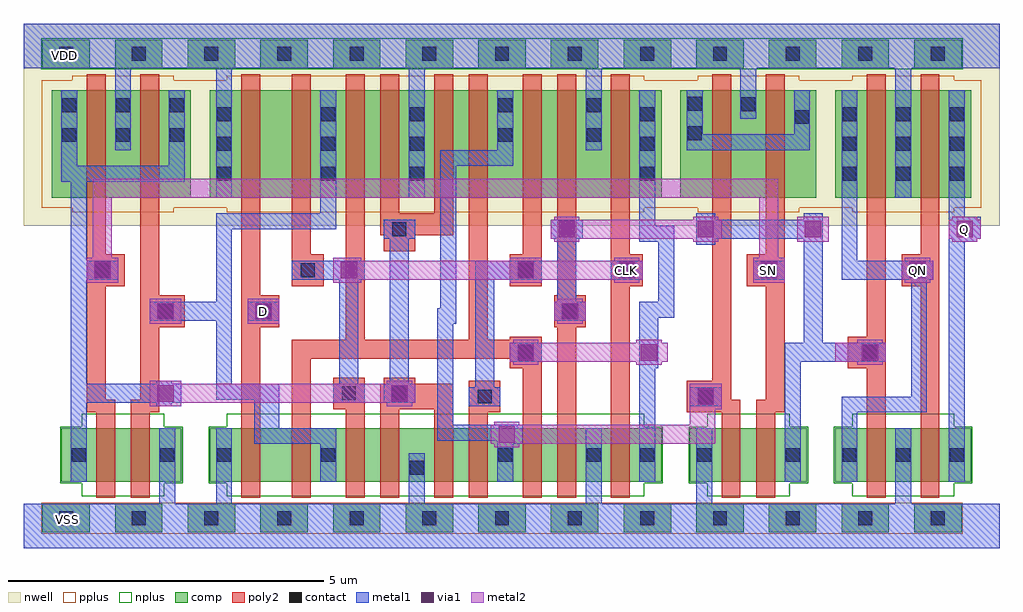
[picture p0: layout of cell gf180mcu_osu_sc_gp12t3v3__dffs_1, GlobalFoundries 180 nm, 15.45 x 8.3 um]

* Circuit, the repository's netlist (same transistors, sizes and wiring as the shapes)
* Copyright 2022 Google LLC
*
* Licensed under the Apache License, Version 2.0 (the "License");
* you may not use this file except in compliance with the License.
* You may obtain a copy of the License at
*
*      http://www.apache.org/licenses/LICENSE-2.0
*
* Unless required by applicable law or agreed to in writing, software
* distributed under the License is distributed on an "AS IS" BASIS,
* WITHOUT WARRANTIES OR CONDITIONS OF ANY KIND, either express or implied.
* See the License for the specific language governing permissions and
* limitations under the License.

.option scale=0.05u

.subckt gf180mcu_osu_sc_gp12t3v3__dffs_1 D SN Q QN CLK
X0 a_75_109 D VDD VDD pmos_3p3 w=34 l=6
X1 Q QN VSS VSS nmos_3p3 w=17 l=6
X2 a_227_19 a_147_19 VSS VSS nmos_3p3 w=17 l=6
X3 a_208_109 SN VDD VDD pmos_3p3 w=34 l=6
X4 VSS SN a_108_19 VSS nmos_3p3 w=17 l=6
X5 VDD a_147_19 a_208_109 VDD pmos_3p3 w=34 l=6
X6 a_85_14 CLK VSS VSS nmos_3p3 w=17 l=6
X7 a_168_68 SN a_227_19 VSS nmos_3p3 w=17 l=6
X8 a_75_19 D VSS VSS nmos_3p3 w=17 l=6
X9 a_85_14 CLK VDD VDD pmos_3p3 w=34 l=6
X10 VDD a_168_68 a_164_109 VDD pmos_3p3 w=34 l=6
X11 VDD SN SN VDD pmos_3p3 w=34 l=6
X12 SN a_34_14 VDD VDD pmos_3p3 w=34 l=6
X13 a_147_19 a_85_14 a_136_109 VDD pmos_3p3 w=34 l=6
X14 a_164_109 CLK a_147_19 VDD pmos_3p3 w=34 l=6
X15 a_136_109 SN VDD VDD pmos_3p3 w=34 l=6
X16 a_136_19 SN VSS VSS nmos_3p3 w=17 l=6
X17 VDD SN a_108_109 VDD pmos_3p3 w=34 l=6
X18 VSS a_168_68 QN VSS nmos_3p3 w=17 l=6
X19 a_108_109 a_85_14 a_34_14 VDD pmos_3p3 w=34 l=6
X20 a_164_19 a_85_14 a_147_19 VSS nmos_3p3 w=17 l=6
X21 Q QN VDD VDD pmos_3p3 w=34 l=6
X22 VDD a_168_68 QN VDD pmos_3p3 w=34 l=6
X23 a_147_19 CLK a_136_19 VSS nmos_3p3 w=17 l=6
X24 VSS a_168_68 a_164_19 VSS nmos_3p3 w=17 l=6
X25 a_34_14 CLK a_75_109 VDD pmos_3p3 w=34 l=6
X26 a_29_19 SN SN VSS nmos_3p3 w=17 l=6
X27 a_34_14 a_85_14 a_75_19 VSS nmos_3p3 w=17 l=6
X28 VSS a_34_14 a_29_19 VSS nmos_3p3 w=17 l=6
X29 a_108_19 CLK a_34_14 VSS nmos_3p3 w=17 l=6
.ends

** hspice subcircuit dictionary

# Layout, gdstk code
import gdstk
lib = gdstk.Library(unit=1e-6, precision=1e-09)
def R(c, l, rs):  # rectangles x0, y0, x1, y1
    for r in rs: c.add(gdstk.rectangle(r[:2], r[2:], *l))
def A(c, l, x, y, w, h, nx, ny, dx, dy):  # array of equal rectangles
    R(c, l, [(x+i*dx, y+j*dy, x+i*dx+w, y+j*dy+h) for i in range(nx) for j in range(ny)])
nwell = (21, 0)
comp = (22, 0)
poly2 = (30, 0)
pplus = (31, 0)
nplus = (32, 0)
contact = (33, 0)
metal1 = (34, 0)
via1 = (35, 0)
metal2 = (36, 0)

gf180mcu_osu_sc_gp12t3v3 = lib.new_cell('gf180mcu_osu_sc_gp12t3v3__dffs_1')
R(gf180mcu_osu_sc_gp12t3v3, nwell, [(0,5.1,15.45,8.3)])
A(gf180mcu_osu_sc_gp12t3v3, comp, 0.3, 0.25, 0.75, 0.45, 13, 2, 1.15, 7.35)
R(gf180mcu_osu_sc_gp12t3v3, comp, [(0.6,1.05,2.5,1.9), (2.95,1.05,10.1,1.9), (10.55,1.05,12.4,1.9), (12.85,1.05,15,1.9), (0.45,5.55,2.65,7.25), (2.95,5.55,10.1,7.25), (10.4,5.55,12.55,7.25), (12.85,5.55,15,7.25)])
A(gf180mcu_osu_sc_gp12t3v3, poly2, 9.3, 4.65, 0.3, 2.85, 3, 1, 2.45, 0)
R(gf180mcu_osu_sc_gp12t3v3, poly2, [(1.15,0.8,1.45,2.15), (1.7,0.8,2,2.15), (3.45,0.8,3.75,3.5), (4.25,0.8,4.55,3), (5.1,0.8,5.4,2.2), (5.65,0.8,5.95,2.2), (6.5,0.8,6.8,2.2), (7.05,0.8,7.35,2.15), (7.9,0.8,8.2,2.85), (8.45,0.8,8.75,3.5), (9.3,0.8,9.6,4.15), (11.05,0.8,11.35,2.15), (11.6,0.8,11.9,2.15), (13.35,0.8,13.65,2.85), (14.2,0.8,14.5,4.15), (1,2.15,1.45,2.35), (1.7,2.15,2.15,2.35), (7.05,2.15,7.55,2.65), (10.5,2.15,11.35,2.35), (11.6,2.15,12.05,2.35), (4.9,2.2,5.4,2.7), (5.65,2.2,6.8,2.6), (1,2.35,1.3,4.15), (1.85,2.35,2.15,3.5), (10.5,2.35,11.2,2.65), (11.75,2.35,12.05,4.15), (5.7,2.6,6.2,2.7), (10.9,2.65,11.2,7.5), (7.7,2.85,8.2,3), (13.05,2.85,13.65,3.35), (4.25,3,8.2,3.3), (5.1,3.3,5.4,7.5), (7.05,3.3,7.35,7.5), (7.7,3.3,8.2,3.35), (13.35,3.35,13.65,7.5), (1.85,3.5,2.55,4), (3.45,3.5,4.05,4), (8.4,3.5,8.9,4), (1.85,4,2.15,7.5), (3.45,4,3.75,7.5), (8.45,4,8.75,7.5), (1,4.15,1.6,4.65), (4.25,4.15,4.75,4.65), (7.7,4.15,8.2,4.65), (9.3,4.15,9.8,4.65), (11.45,4.15,12.05,4.65), (13.9,4.15,14.5,4.65), (1,4.65,1.3,7.5), (4.25,4.65,4.55,7.5), (7.9,4.65,8.2,7.5), (5.7,4.7,6.2,4.95), (5.65,4.95,6.8,5.3), (5.65,5.3,5.95,7.5), (6.5,5.3,6.8,7.5)])
R(gf180mcu_osu_sc_gp12t3v3, pplus, [(0.28,0.23,14.87,0.72), (0.77,5.32,2.38,5.39), (3.22,5.32,9.83,5.39), (10.67,5.32,12.28,5.39), (13.12,5.32,14.73,5.39), (0.29,5.39,15.16,7.41), (0.77,7.41,2.38,7.48), (3.22,7.41,9.83,7.48), (10.67,7.41,12.28,7.48), (13.12,7.41,14.73,7.48)])
R(gf180mcu_osu_sc_gp12t3v3, nplus, [(0.92,0.82,2.23,1.03), (3.22,0.82,9.83,1.03), (10.82,0.82,12.13,1.03), (13.12,0.82,14.73,1.03), (0.58,1.03,2.52,1.92), (2.93,1.03,10.12,1.92), (10.53,1.03,12.42,1.92), (12.83,1.03,15.02,1.92), (0.92,1.92,2.23,2.13), (3.22,1.92,9.83,2.13), (10.82,1.92,12.13,2.13), (13.12,1.92,14.73,2.13), (0.28,7.58,14.87,8.07)])
A(gf180mcu_osu_sc_gp12t3v3, contact, 0.565, 0.365, 0.22, 0.22, 13, 2, 1.15, 7.35)
A(gf180mcu_osu_sc_gp12t3v3, contact, 12.965, 1.365, 0.22, 0.22, 3, 2, 0.85, 4.455)
A(gf180mcu_osu_sc_gp12t3v3, contact, 3.065, 5.82, 0.22, 0.22, 1, 3, 0, 0.47)
A(gf180mcu_osu_sc_gp12t3v3, contact, 4.715, 5.82, 0.22, 0.22, 1, 3, 0, 0.47)
A(gf180mcu_osu_sc_gp12t3v3, contact, 6.115, 5.82, 0.22, 0.22, 1, 3, 0, 0.47)
A(gf180mcu_osu_sc_gp12t3v3, contact, 9.765, 5.82, 0.22, 0.22, 1, 3, 0, 0.47)
A(gf180mcu_osu_sc_gp12t3v3, contact, 12.965, 6.29, 0.22, 0.22, 3, 2, 0.85, 0.47)
A(gf180mcu_osu_sc_gp12t3v3, contact, 0.615, 6.43, 0.22, 0.22, 3, 2, 0.85, 0.47)
R(gf180mcu_osu_sc_gp12t3v3, contact, [(6.115,1.165,6.335,1.385), (0.765,1.365,0.985,1.585), (2.165,1.365,2.385,1.585), (3.065,1.365,3.285,1.585), (4.715,1.365,4.935,1.585), (7.515,1.365,7.735,1.585), (8.915,1.365,9.135,1.585), (9.765,1.365,9.985,1.585), (10.665,1.365,10.885,1.585), (12.065,1.365,12.285,1.585), (7.19,2.29,7.41,2.51), (10.69,2.29,10.91,2.51), (5.04,2.34,5.26,2.56), (5.84,2.34,6.06,2.56), (7.84,2.99,8.06,3.21), (13.29,2.99,13.51,3.21), (2.14,3.64,2.36,3.86), (3.69,3.64,3.91,3.86), (8.54,3.64,8.76,3.86), (1.14,4.29,1.36,4.51), (4.39,4.29,4.61,4.51), (7.84,4.29,8.06,4.51), (9.44,4.29,9.66,4.51), (11.69,4.29,11.91,4.51), (14.04,4.29,14.26,4.51), (5.84,4.94,6.06,5.16), (7.515,6.43,7.735,6.65), (8.915,6.43,9.135,6.65), (10.515,6.455,10.735,6.675), (12.215,6.715,12.435,6.935), (7.515,6.9,7.735,7.12), (8.915,6.9,9.135,7.12), (11.365,6.915,11.585,7.135), (10.515,6.925,10.735,7.145)])
R(gf180mcu_osu_sc_gp12t3v3, metal1, [(0,0,15.45,0.7), (2.15,0.7,2.4,1.9), (3.05,0.7,3.3,1.9), (6.1,0.7,6.35,1.5), (8.9,0.7,9.15,1.9), (10.65,0.7,10.9,1.9), (13.8,0.7,14.05,1.9), (0.75,1.05,1,2.3), (4.7,1.05,4.95,1.65), (7.5,1.05,7.75,1.65), (9.75,1.05,10,2.85), (12.05,1.05,12.3,2.95), (12.95,1.05,13.2,2.15), (14.65,1.05,14.9,4.85), (3.65,1.65,4.95,1.9), (7.5,1.65,7.9,1.7), (6.55,1.7,7.9,1.95), (3.65,1.9,4.05,2.35), (6.55,1.95,6.8,3.55), (12.95,2.15,14.3,2.4), (2.1,2.25,2.35,2.3), (7.05,2.25,7.55,2.55), (10.55,2.25,11.05,2.55), (0.75,2.3,2.5,2.6), (4.9,2.3,5.4,2.6), (5.7,2.3,6.2,2.6), (3.05,2.35,4.05,2.6), (14.05,2.4,14.3,4.25), (7.15,2.55,7.45,4.25), (0.75,2.6,1,4.25), (2.1,2.6,2.35,2.65), (3.05,2.6,3.3,3.6), (5,2.6,5.3,4.25), (5.8,2.6,6.1,4.9), (9.75,2.85,10.05,3.65), (7.7,2.95,8.2,3.25), (12.05,2.95,13.65,3.25), (12.35,3.25,12.65,4.9), (6.55,3.55,6.85,3.8), (2,3.6,3.3,3.9), (3.55,3.6,4.05,3.9), (8.4,3.6,8.9,3.9), (9.75,3.65,10.3,3.9), (6.6,3.8,6.85,6.05), (3.05,3.9,3.3,5.05), (8.45,3.9,8.75,4.9), (10.05,3.9,10.3,4.85), (0.75,4.25,1.5,4.55), (4.25,4.25,5.4,4.55), (7.15,4.25,8.2,4.55), (9.3,4.25,9.8,4.55), (11.55,4.25,12.05,4.55), (12.95,4.25,14.4,4.55), (0.75,4.55,1,5.8), (12.95,4.55,13.2,7.25), (10.65,4.8,10.95,4.9), (9.75,4.85,10.3,5.1), (14.65,4.85,15.1,4.9), (5.7,4.9,6.2,5.2), (8.35,4.9,8.85,5.2), (10.65,4.9,12.65,5.2), (14.65,4.9,15.15,5.25), (3.05,5.05,4.95,5.3), (9.75,5.1,10,7.25), (10.65,5.2,10.95,5.3), (12.35,5.2,12.65,5.3), (14.65,5.25,14.9,7.25), (4.7,5.3,4.95,7.25), (3.05,5.55,3.3,7.6), (6.1,5.55,6.35,7.6), (13.8,5.55,14.05,7.6), (0.6,5.8,2.55,6.05), (0.6,6.05,0.85,7.25), (2.3,6.05,2.55,7.25), (6.6,6.05,7.75,6.3), (1.45,6.3,1.7,7.6), (7.5,6.3,7.75,7.25), (8.9,6.3,9.15,7.6), (10.5,6.3,12.45,6.55), (10.5,6.55,10.75,7.25), (12.2,6.55,12.45,7.25), (11.35,6.8,11.6,7.6), (0,7.6,15.45,8.3)])
R(gf180mcu_osu_sc_gp12t3v3, via1, [(7.52,1.67,7.78,1.93), (10.67,2.27,10.93,2.53), (2.12,2.32,2.38,2.58), (5.82,2.32,6.08,2.58), (7.82,2.97,8.08,3.23), (9.77,2.97,10.03,3.23), (13.27,2.97,13.53,3.23), (2.12,3.62,2.38,3.88), (3.67,3.62,3.93,3.88), (8.52,3.62,8.78,3.88), (1.12,4.27,1.38,4.53), (5.02,4.27,5.28,4.53), (7.82,4.27,8.08,4.53), (9.42,4.27,9.68,4.53), (11.67,4.27,11.93,4.53), (14.02,4.27,14.28,4.53), (8.47,4.92,8.73,5.18), (10.67,4.92,10.93,5.18), (12.37,4.92,12.63,5.18), (14.77,4.92,15.03,5.18)])
R(gf180mcu_osu_sc_gp12t3v3, metal2, [(7.45,1.6,7.85,1.65), (7.4,1.65,10.95,1.95), (7.45,1.95,7.85,2), (10.55,1.95,10.95,2.2), (10.55,2.2,11.05,2.6), (2,2.25,2.5,2.3), (5.75,2.25,6.15,2.3), (2,2.3,6.2,2.6), (2,2.6,2.5,2.65), (5.75,2.6,6.15,2.65), (7.75,2.9,8.15,2.95), (9.7,2.9,10.1,2.95), (13.2,2.9,13.6,2.95), (7.7,2.95,10.2,3.25), (12.85,2.95,13.65,3.25), (7.75,3.25,8.15,3.3), (9.7,3.25,10.1,3.3), (13.2,3.25,13.6,3.3), (2,3.55,2.5,3.95), (3.55,3.55,4.05,3.95), (8.45,3.55,8.85,3.6), (8.4,3.6,8.9,3.9), (8.45,3.9,8.85,3.95), (1,4.2,1.5,4.6), (4.9,4.2,5.35,4.25), (7.7,4.2,8.2,4.25), (9.35,4.2,9.75,4.25), (11.55,4.2,12.05,4.6), (13.95,4.2,14.35,4.25), (4.9,4.25,9.8,4.55), (13.9,4.25,14.4,4.55), (4.9,4.55,5.35,4.6), (7.7,4.55,8.2,4.6), (9.35,4.55,9.75,4.6), (13.95,4.55,14.35,4.6), (1.1,4.6,1.4,5.55), (11.65,4.6,11.95,5.55), (8.4,4.85,8.8,4.9), (10.6,4.85,11,4.9), (12.25,4.85,12.75,5.25), (14.7,4.85,15.1,4.9), (8.35,4.9,11.05,5.2), (14.65,4.9,15.15,5.2), (8.4,5.2,8.8,5.25), (10.6,5.2,11,5.25), (14.7,5.2,15.1,5.25), (1.1,5.55,11.95,5.85)])
gf180mcu_osu_sc_gp12t3v3.add(gdstk.Label('D', (3.8,3.75), layer=36, texttype=10))
gf180mcu_osu_sc_gp12t3v3.add(gdstk.Label('Q', (14.9,5.05), layer=36, texttype=10))
gf180mcu_osu_sc_gp12t3v3.add(gdstk.Label('QN', (14.15,4.4), layer=36, texttype=10))
gf180mcu_osu_sc_gp12t3v3.add(gdstk.Label('SN', (11.8,4.4), layer=36, texttype=10))
gf180mcu_osu_sc_gp12t3v3.add(gdstk.Label('CLK', (9.55,4.4), layer=36, texttype=10))
gf180mcu_osu_sc_gp12t3v3.add(gdstk.Label('VDD', (0.65,7.8), layer=34, texttype=10))
gf180mcu_osu_sc_gp12t3v3.add(gdstk.Label('VSS', (0.7,0.45), layer=34, texttype=10))

lib.write_gds('gf180mcu_osu_sc_gp12t3v3__dffs_1.gds')
